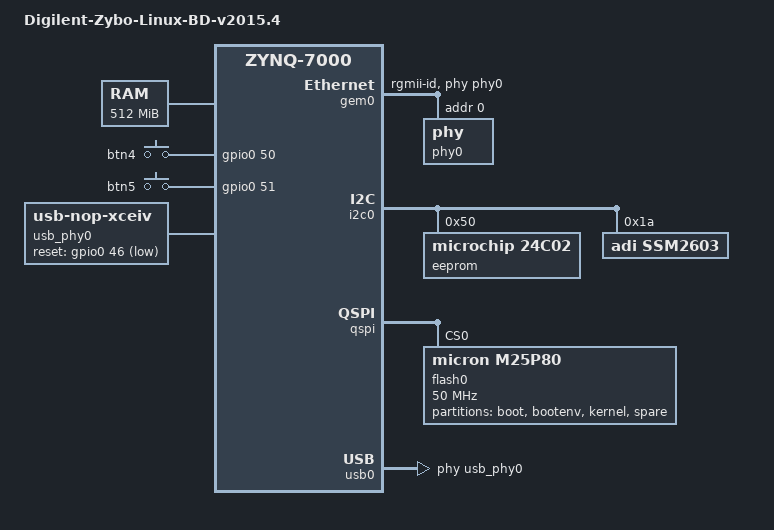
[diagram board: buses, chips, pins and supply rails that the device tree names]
/dts-v1/;
/include/ "skeleton.dtsi"
/include/ "zynq-7000.dtsi"
/include/ "zynq-7000-qspi-dummy.dtsi"
/include/ "pcw.dtsi"
/include/ "pl.dtsi"

/ {
	model = "Digilent-Zybo-Linux-BD-v2015.4";
	aliases {
		serial0 = &uart1;
		ethernet0 = &gem0;
		spi0 = &qspi;
	};
	chosen {
		bootargs = "";
		stdout-path = "serial0:115200n8";
	};
	memory {
		device_type = "memory";
		reg = <0x0 0x20000000>;
	};

	gpio-keys {
		compatible = "gpio-keys";
		#address-cells = <1>;
		#size-cells = <0>;
		autorepeat;
		btn4 {
			label = "btn4";
			gpios = <&gpio0 50 0>;
			linux,code = <108>; /* down */
			gpio-key,wakeup;
			autorepeat;
		};
		btn5 {
			label = "btn5";
			gpios = <&gpio0 51 0>;
			linux,code = <103>; /* up */
			gpio-key,wakeup;
			autorepeat;
		};
	};

	usb_phy0: usb_phy@0 {
		compatible = "usb-nop-xceiv";
		#phy-cells = <0>;
		reset-gpios = <&gpio0 46 1>;
	};
};

&amba {
	u-boot,dm-pre-reloc;
};

&amba_pl {
	encoder_0: digilent_encoder {
		compatible = "digilent,drm-encoder";
		dglnt,edid-i2c = <&i2c1>;
	};

	xilinx_drm {
		compatible = "xlnx,drm";
		xlnx,vtc = <&v_tc_0>;
		xlnx,connector-type = "HDMIA";
		xlnx,encoder-slave = <&encoder_0>;
		clocks = <&axi_dynclk_0>;
		planes {
			xlnx,pixel-format = "xrgb8888";
			plane0 {
				dmas = <&axi_vdma_0 0>;
				dma-names = "dma0";
			};
		};
	};

	i2s_clk: i2s_clk {
		#clock-cells = <0>;
		compatible = "fixed-clock";
		clock-frequency = <12288000>;
		clock-output-names = "i2s_clk";
	};

	sound {
		compatible = "simple-audio-card";
		simple-audio-card,name = "ZYBO-Sound-Card";
		simple-audio-card,format = "i2s";
		simple-audio-card,bitclock-master = <&dailink0_master>;
		simple-audio-card,frame-master = <&dailink0_master>;
		simple-audio-card,widgets =
			"Microphone", "Microphone Jack",
			"Headphone", "Headphone Jack",
			"Line", "Line In Jack";
		simple-audio-card,routing =
			"MICIN", "Microphone Jack",
			"Headphone Jack", "LHPOUT",
			"Headphone Jack", "RHPOUT",
			"LLINEIN", "Line In Jack",
			"RLINEIN", "Line In Jack";
		dailink0_master: simple-audio-card,cpu {
			clocks = <&i2s_clk>;
			sound-dai = <&axi_i2s_adi_0>;
		};
		simple-audio-card,codec {
			clocks = <&i2s_clk>;
			sound-dai = <&ssm2603>;
		};
	};
};

&axi_dynclk_0 {
	compatible = "digilent,axi-dynclk";
	#clock-cells = <0>;
	clocks = <&clkc 15>;
};

&axi_i2s_adi_0 {
	#sound-dai-cells = <0>;
	compatible = "adi,axi-i2s-1.00.a";
	clocks = <&clkc 15>, <&i2s_clk>;
	clock-names = "axi", "ref";
	dmas = <&dmac_s 0 &dmac_s 1>;
	dma-names = "tx", "rx";
};

&gem0 {
	phy-handle = <&phy0>;
	phy-mode = "rgmii-id";
	local-mac-address = [];
	phy0: phy@0 {
		device_type = "ethernet-phy";
		reg = <0>;
	};
};

&i2c0 {
	eeprom@50 {
		/* Microchip 24AA02E48 */
		compatible = "microchip,24c02";
		reg = <0x50>;
	};

	ssm2603: ssm2603@1a{
		#sound-dai-cells = <0>;
		compatible = "adi,ssm2603";
		reg = <0x1a>;
	};
};

&qspi {
	#address-cells = <1>;
	#size-cells = <0>;
	flash0: flash@0 {
		compatible = "micron,m25p80", "s25fl128s";
		reg = <0x0>;
		#address-cells = <1>;
		#size-cells = <1>;
		spi-max-frequency = <50000000>;
		partition@0x00000000 {
			label = "boot";
			reg = <0x00000000 0x00300000>;
		};
		partition@0x00300000 {
			label = "bootenv";
			reg = <0x00300000 0x00020000>;
		};
		partition@0x00320000 {
			label = "kernel";
			reg = <0x00320000 0x00a80000>;
		};
		partition@0x00da0000 {
			label = "spare";
			reg = <0x00da0000 0x00000000>;
		};
	};
};

&usb0 {
	usb-phy = <&usb_phy0>;
};

&v_tc_0 {
	compatible = "xlnx,v-tc-5.01.a";
};
